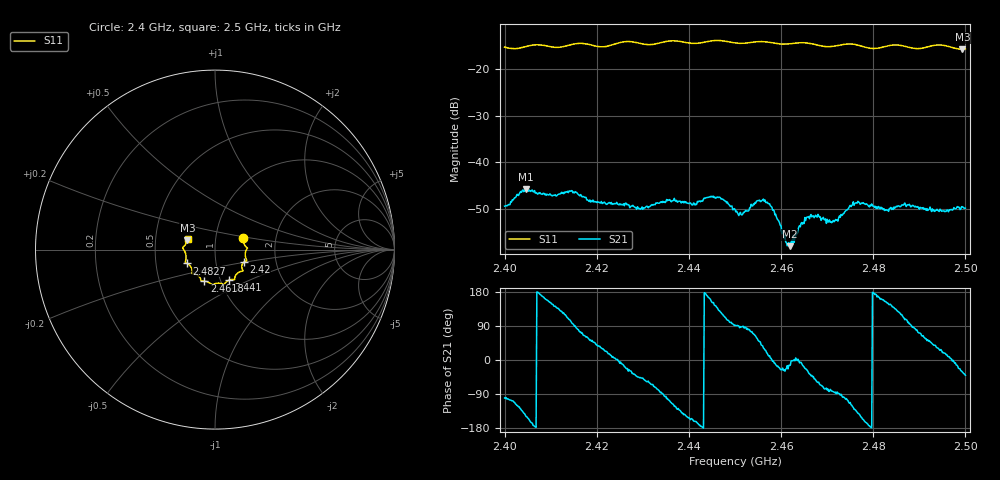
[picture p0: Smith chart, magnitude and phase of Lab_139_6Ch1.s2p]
# Hz S RI R 50
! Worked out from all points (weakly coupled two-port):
!   601 points, 2.4 GHz to 2.5 GHz, reference 50 ohm
!   highest |S21| = -45.78 dB at 2.4047 GHz (marker M1); lowest = -58.0 dB at 2.4618 GHz (marker M2)
!   lowest |S11| = -15.8 dB at 2.4993 GHz (marker M3), VSWR 1.39, Z = 36.5 + j3.84 ohm
!   |S11| at or under -10 dB: start of sweep to end of sweep
!   S12 and S22 are empty: the file has one direction only
!   S11 on the Smith chart (normalised r, x): 2.4 GHz: 1.36, +0.18; 2.42 GHz: 1.36, -0.20; 2.441 GHz: 1.10, -0.39; 2.4618 GHz: 0.84, -0.30; 2.4827 GHz: 0.72, -0.11; 2.5 GHz: 0.73, +0.09
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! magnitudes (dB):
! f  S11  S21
! 2.4 GHz  -15.4  -49.4
! 2.4047 GHz  -15.2  -45.8
! 2.4167 GHz  -14.5  -47.2
! 2.42 GHz  -15.2  -48.6
! 2.4295 GHz  -14.6  -50.1
! 2.4333 GHz  -14.5  -48.8
! 2.441 GHz  -14.6  -48.7
! 2.4465 GHz  -13.9  -47.4
! 2.45 GHz  -14.4  -50.1
! 2.4512 GHz  -14.5  -50.7
! 2.4565 GHz  -14.2  -48.1
! 2.458 GHz  -14.4  -49.6
! 2.461 GHz  -14.7  -57.0
! 2.4618 GHz  -14.6  -58.0
! 2.4643 GHz  -14.4  -53.1
! 2.4667 GHz  -14.6  -51.7
! 2.4712 GHz  -15.2  -52.7
! 2.4765 GHz  -14.9  -48.8
! 2.4827 GHz  -15.2  -50.2
! 2.4833 GHz  -15.0  -50.5
! 2.4993 GHz  -15.8  -49.5
! 2.5 GHz  -15.7  -49.8
